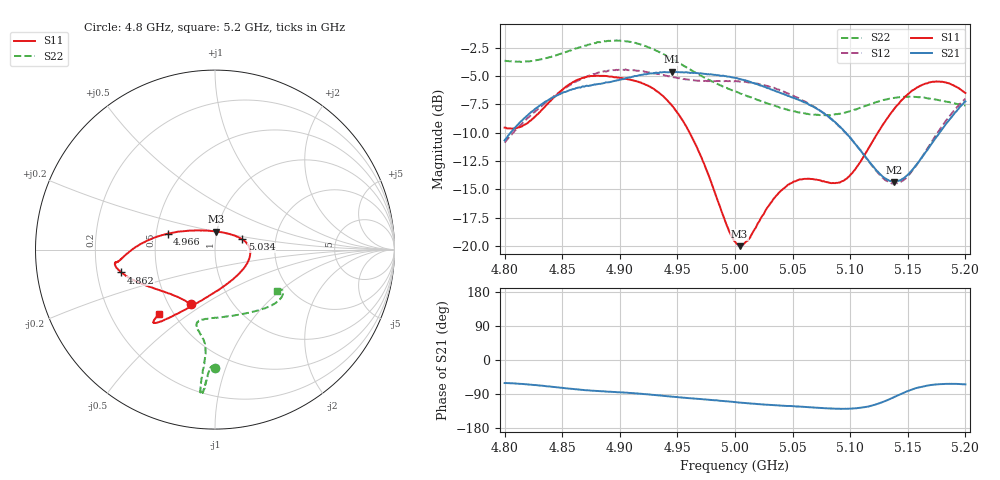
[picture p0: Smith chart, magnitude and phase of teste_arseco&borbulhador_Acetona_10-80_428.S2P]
! Network Analyzer HP8722D
! Hewlett-Packard
! Data name: Linha & Wilkinson
! Saver's name: Rodrigo Anjos
! Comments: Teste da utilização de aquisição
! continua pelo VNA HP8722D
! Time and date: 17/4/2025 17:55
!  Frequency  S11  S21  S12  S22
# HZ  S  MA R 50
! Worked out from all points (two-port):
!   401 points, 4.8 GHz to 5.2 GHz, reference 50 ohm
!   highest |S21| = -4.61 dB at 4.945 GHz (marker M1); lowest = -14.3 dB at 5.138 GHz (marker M2)
!   |S21| within 3 dB of the highest: 4.83 GHz to 5.066 GHz (235.6 MHz wide, 4.76 % of centre); 5.196332 GHz to end of sweep
!   lowest |S11| = -20.0 dB at 5.004 GHz (marker M3), VSWR 1.22, Z = 49.8 + j10 ohm
!   |S11| at or under -10 dB: 4.961 GHz to 5.124 GHz (163.4 MHz wide, 3.24 % of centre)
!   |S22| runs from -8.5 to -1.9 dB; largest |S21 - S12| = 0.88
!   S11 on the Smith chart (normalised r, x): 4.8 GHz: 0.65, -0.44; 4.862 GHz: 0.30, -0.11; 4.966 GHz: 0.57, +0.11; 5.034 GHz: 1.35, +0.16; 5.2 GHz: 0.42, -0.39
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4.8e9  0.333 -113.6  0.2929 -60.8  0.2859 -175.0  0.6572 -90.1
4.819e9  0.3471 -133.7  0.3736 -64.2  0.3628 -173.6  0.6527 -91.6
4.862e9  0.5373 -166.3  0.4974 -77.3  0.5314 -177.0  0.7448 -94.0
4.867e9  0.5505 -168.2  0.5043 -78.7  0.5466 -178.0  0.7573 -94.2
4.9e9  0.5525 -172.8  0.5419 -85.4  0.5993 175.5  0.8057 -95.6
4.934e9  0.4749 -178.8  0.5814 -93.6  0.5742 171.9  0.7175 -96.0
4.945e9  0.4186 176.0  0.5878 -96.6  0.5587 172.0  0.6696 -95.7
4.966e9  0.2788 161.5  0.5796 -102.1  0.5374 173.8  0.5812 -95.1
5e9  0.1046 98.8  0.5521 -111.1  0.5346 176.0  0.4802 -99.5
5.004e9  0.09989 85.4  0.5462 -112.3  0.5313 175.9  0.4723 -100.3
5.012e9  0.1074 59.8  0.5323 -114.5  0.5267 175.9  0.4569 -102.1
5.034e9  0.1626 20.7  0.4857 -119.3  0.4991 174.8  0.4163 -103.5
5.05e9  0.1907 4.3  0.4523 -122.1  0.4614 174.1  0.3955 -99.5
5.067e9  0.1976 -13.9  0.4146 -125.0  0.4158 173.6  0.3802 -90.7
5.085e9  0.1898 -42.3  0.3577 -128.1  0.3578 173.5  0.3803 -77.0
5.097e9  0.1984 -66.9  0.3121 -128.8  0.3122 174.7  0.3899 -67.1
5.134e9  0.3773 -116.9  0.1941 -103.7  0.1908 -156.6  0.4467 -43.0
5.138e9  0.4017 -119.2  0.1918 -97.9  0.1892 -150.2  0.4501 -41.2
5.15e9  0.4664 -124.7  0.2063 -82.1  0.2032 -131.7  0.4556 -36.7
5.17e9  0.5284 -129.3  0.2795 -66.0  0.2845 -112.2  0.447 -32.0
5.184e9  0.5248 -130.6  0.3504 -62.9  0.362 -107.2  0.4327 -31.1
5.2e9  0.4732 -131.1  0.4347 -64.3  0.447 -106.6  0.416 -33.4
